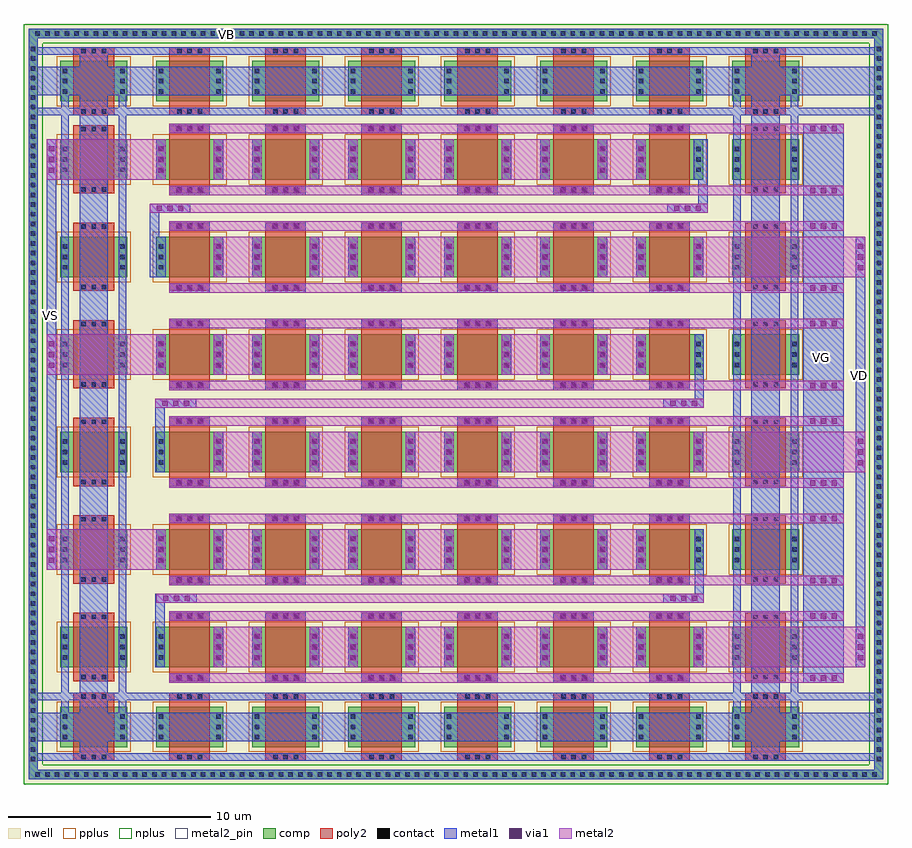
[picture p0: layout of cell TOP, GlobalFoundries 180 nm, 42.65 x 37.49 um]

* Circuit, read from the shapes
.subckt TOP VB VD VG VS
XM1 VB VB VB VB pfet_03v3 w=2u l=2u m=28
XM2 n1 VG n2 VB pfet_03v3 w=2u l=2u
XM3 n3 VG VS VB pfet_03v3 w=2u l=2u
XM4 n4 VG n5 VB pfet_03v3 w=2u l=2u
XM5 n6 VG VS VB pfet_03v3 w=2u l=2u
XM6 n7 VG n8 VB pfet_03v3 w=2u l=2u
XM7 n9 VG VS VB pfet_03v3 w=2u l=2u
XM8 n10 VG n1 VB pfet_03v3 w=2u l=2u
XM9 n11 VG n3 VB pfet_03v3 w=2u l=2u
XM10 n12 VG n4 VB pfet_03v3 w=2u l=2u
XM11 n13 VG n6 VB pfet_03v3 w=2u l=2u
XM12 n14 VG n7 VB pfet_03v3 w=2u l=2u
XM13 n15 VG n9 VB pfet_03v3 w=2u l=2u
XM14 n16 VG n10 VB pfet_03v3 w=2u l=2u
XM15 n17 VG n11 VB pfet_03v3 w=2u l=2u
XM16 n18 VG n12 VB pfet_03v3 w=2u l=2u
XM17 n19 VG n13 VB pfet_03v3 w=2u l=2u
XM18 n20 VG n14 VB pfet_03v3 w=2u l=2u
XM19 n21 VG n15 VB pfet_03v3 w=2u l=2u
XM20 n22 VG n16 VB pfet_03v3 w=2u l=2u
XM21 n23 VG n17 VB pfet_03v3 w=2u l=2u
XM22 n24 VG n18 VB pfet_03v3 w=2u l=2u
XM23 n25 VG n19 VB pfet_03v3 w=2u l=2u
XM24 n26 VG n20 VB pfet_03v3 w=2u l=2u
XM25 n27 VG n21 VB pfet_03v3 w=2u l=2u
XM26 n28 VG n22 VB pfet_03v3 w=2u l=2u
XM27 n29 VG n23 VB pfet_03v3 w=2u l=2u
XM28 n30 VG n24 VB pfet_03v3 w=2u l=2u
XM29 n31 VG n25 VB pfet_03v3 w=2u l=2u
XM30 n32 VG n26 VB pfet_03v3 w=2u l=2u
XM31 n33 VG n27 VB pfet_03v3 w=2u l=2u
XM32 VD VG n28 VB pfet_03v3 w=2u l=2u
XM33 n2 VG n29 VB pfet_03v3 w=2u l=2u
XM34 VD VG n30 VB pfet_03v3 w=2u l=2u
XM35 n5 VG n31 VB pfet_03v3 w=2u l=2u
XM36 VD VG n32 VB pfet_03v3 w=2u l=2u
XM37 n8 VG n33 VB pfet_03v3 w=2u l=2u
.ends

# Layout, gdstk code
from math import pi, radians
import gdstk
lib = gdstk.Library(unit=1e-6, precision=1e-09)
def R(c, l, rs):  # rectangles x0, y0, x1, y1
    for r in rs: c.add(gdstk.rectangle(r[:2], r[2:], *l))
def A(c, l, x, y, w, h, nx, ny, dx, dy):  # array of equal rectangles
    R(c, l, [(x+i*dx, y+j*dy, x+i*dx+w, y+j*dy+h) for i in range(nx) for j in range(ny)])
def P(c, l, *ps):  # polygons
    for p in ps: c.add(gdstk.Polygon(p, *l))
nwell = (21, 0)
comp = (22, 0)
poly2 = (30, 0)
pplus = (31, 0)
nplus = (32, 0)
contact = (33, 0)
metal1 = (34, 0)
via1 = (35, 0)
metal2 = (36, 0)
metal2_pin = (36, 10)

pfet_1 = lib.new_cell('pfet$1')
R(pfet_1, nwell, [(-0.9,-0.44,3.28,2.44)])
R(pfet_1, comp, [(-0.46,0,0,2), (0,0,2.38,2), (2.38,0,2.84,2)])
R(pfet_1, poly2, [(0.19,-0.68,2.19,-0.3), (0.19,-0.3,2.19,2.3), (0.19,2.3,2.19,2.68)])
R(pfet_1, pplus, [(-0.63,-0.24,3.01,2.24)])
A(pfet_1, contact, 0.57, -0.6, 0.22, 0.22, 3, 2, 0.51, 2.98)
A(pfet_1, contact, -0.34, 0.38, 0.22, 0.22, 1, 3, 0, 0.51)
A(pfet_1, contact, 2.5, 0.38, 0.22, 0.22, 1, 3, 0, 0.51)
R(pfet_1, metal1, [(0.49,-0.68,1.89,-0.3), (-0.42,0.3,-0.04,1.7), (2.42,0.3,2.8,1.7), (0.49,2.3,1.89,2.68)])

via_dev_1 = lib.new_cell('via_dev$1')
R(via_dev_1, metal1, [(0,0,0.46,2)])
A(via_dev_1, via1, 0.1, 0.34, 0.26, 0.26, 1, 3, 0, 0.53)
R(via_dev_1, metal2, [(0,0,0.46,2)])

via_dev_6 = lib.new_cell('via_dev$6')
R(via_dev_6, comp, [(0,0,0.46,42.17)])
A(via_dev_6, contact, 0.12, 0.335, 0.22, 0.22, 1, 87, 0, 0.48)
R(via_dev_6, metal1, [(0,0,0.46,42.17)])

via_dev_4 = lib.new_cell('via_dev$4')
R(via_dev_4, comp, [(0,0,0.46,35.61)])
A(via_dev_4, contact, 0.12, 0.175, 0.22, 0.22, 1, 74, 0, 0.48)
R(via_dev_4, metal1, [(0,0,0.46,35.61)])

top = lib.new_cell('TOP')
R(top, nwell, [(-98.8,38.13,-56.15,75.62)])
R(top, comp, [(-98.56,38.745,-98.1,39.1), (-56.85,38.745,-56.39,39.1), (-98.56,74.58,-98.1,74.935), (-56.85,74.58,-56.39,74.935), (-56.85,74.58,-56.39,74.935)])
R(top, nplus, [(-98.8,38.13,-97.86,75.62), (-98.12,38.13,-56.23,39.07), (-57.09,38.13,-56.15,75.62), (-98.8,74.68,-56.23,75.62)])
R(top, metal1, [(-98.56,38.825,-98.1,39.12), (-56.85,38.825,-56.39,39.12), (-60.35,43.13,-58.35,70.7), (-92.3,43.89,-91.84,47.525), (-92.3,43.89,-91.84,47.525), (-57.75,43.89,-57.29,65.13), (-65.705,47.065,-65.245,50.7), (-97.66,48.7,-97.2,69.94), (-92.26,48.7,-91.8,50.7), (-92.26,48.7,-91.8,50.7), (-92.26,48.7,-91.8,50.7), (-92.26,48.7,-91.8,50.7), (-92.3,53.51,-91.84,57.145), (-92.3,53.51,-91.84,57.145), (-65.705,56.685,-65.245,60.32), (-92.26,58.32,-91.8,60.32), (-92.26,58.32,-91.8,60.32), (-92.26,58.32,-91.8,60.32), (-92.26,58.32,-91.8,60.32), (-92.26,67.94,-91.8,69.94), (-92.26,67.94,-91.8,69.94), (-92.26,67.94,-91.8,69.94), (-92.26,67.94,-91.8,69.94), (-98.56,74.66,-98.1,74.955), (-56.85,74.66,-56.39,74.955), (-56.85,74.66,-56.39,74.955)])
P(top, metal1, [(-98.56,39.27),(-98.56,39.65),(-96.045,39.65),(-96.045,40.25),(-94.645,40.25),(-94.645,39.65),(-62.9,39.65),(-62.9,40.25),(-98.56,40.25),(-98.56,41.65),(-96.955,41.65),(-96.955,42.25),(-96.575,42.25),(-96.575,41.65),(-96.045,41.65),(-96.045,42.25),(-94.645,42.25),(-94.645,41.65),(-94.115,41.65),(-94.115,42.25),(-93.735,42.25),(-93.735,41.65),(-63.81,41.65),(-63.81,42.25),(-63.43,42.25),(-63.43,41.65),(-62.9,41.65),(-62.9,42.25),(-61.5,42.25),(-61.5,41.65),(-60.97,41.65),(-60.97,42.25),(-98.56,42.25),(-98.56,42.63),(-96.955,42.63),(-96.955,71.12),(-96.575,71.12),(-96.575,42.63),(-96.045,42.63),(-96.045,71.12),(-94.645,71.12),(-94.645,42.63),(-94.115,42.63),(-94.115,71.12),(-93.735,71.12),(-93.735,42.63),(-63.81,42.63),(-63.81,71.12),(-63.43,71.12),(-63.43,42.63),(-62.9,42.63),(-62.9,71.12),(-61.5,71.12),(-61.5,42.63),(-60.97,42.63),(-60.97,71.12),(-98.56,71.12),(-98.56,71.5),(-96.955,71.5),(-96.955,72.1),(-96.575,72.1),(-96.575,71.5),(-96.045,71.5),(-96.045,72.1),(-94.645,72.1),(-94.645,71.5),(-94.115,71.5),(-94.115,72.1),(-93.735,72.1),(-93.735,71.5),(-63.81,71.5),(-63.81,72.1),(-63.43,72.1),(-63.43,71.5),(-62.9,71.5),(-62.9,72.1),(-61.5,72.1),(-61.5,71.5),(-60.97,71.5),(-60.97,72.1),(-98.56,72.1),(-98.56,73.5),(-96.045,73.5),(-96.045,74.1),(-94.645,74.1),(-94.645,73.5),(-62.9,73.5),(-62.9,74.1),(-98.56,74.1),(-98.56,74.48),(-56.39,74.48),(-56.39,74.1),(-61.5,74.1),(-61.5,73.5),(-56.39,73.5),(-56.39,72.1),(-60.59,72.1),(-60.59,71.5),(-56.39,71.5),(-56.39,71.12),(-60.59,71.12),(-60.59,42.63),(-56.39,42.63),(-56.39,42.25),(-60.59,42.25),(-60.59,41.65),(-56.39,41.65),(-56.39,40.25),(-61.5,40.25),(-61.5,39.65),(-56.39,39.65),(-56.39,39.27)],
  [(-92.585,63.13),(-92.585,66.765),(-92.125,66.765),(-92.125,65.13),(-91.8,65.13),(-91.8,63.13)],
  [(-65.515,66.305),(-65.515,67.94),(-65.745,67.94),(-65.745,69.94),(-65.055,69.94),(-65.055,66.305)],
  [(-92.585,63.13),(-92.585,66.765),(-92.125,66.765),(-92.125,65.13),(-91.8,65.13),(-91.8,63.13)])
A(top, metal2, -89.42, 43.89, 2.355, 2, 5, 6, 4.735, 4.81)
A(top, metal2, -65.745, 43.89, 8.455, 2, 1, 3, 0, 9.62)
A(top, metal2, -92.26, 47.065, 26.975, 0.46, 1, 3, 0, 9.62)
A(top, metal2, -97.66, 48.7, 5.86, 2, 1, 3, 0, 9.62)
R(top, metal2, [(-91.61,43.13,-60.11,43.59), (-91.61,46.19,-59.12,46.65), (-91.61,47.94,-59.39,48.4), (-91.61,51,-58.35,51.46), (-91.61,52.75,-58.35,53.21), (-91.61,55.81,-58.35,56.27), (-91.61,57.56,-59.945,58.02), (-91.61,57.56,-65.935,58.02), (-91.61,60.62,-59.395,61.08), (-91.61,62.37,-59,62.83), (-91.61,65.43,-58.35,65.89), (-91.61,67.18,-60.29,67.64), (-91.61,70.24,-60.25,70.7)])
A(top, metal2_pin, -89.42, 48.7, 2.355, 2, 5, 3, 4.735, 9.62)
R(top, metal2_pin, [(-91.61,43.13,-65.935,43.59), (-91.61,43.13,-65.935,43.59), (-91.61,43.13,-65.935,43.59), (-91.61,46.19,-65.935,46.65), (-91.61,46.19,-65.935,46.65), (-91.61,47.94,-65.935,48.4), (-91.61,47.94,-65.935,48.4), (-91.61,47.94,-65.935,48.4), (-91.61,51,-65.935,51.46), (-91.61,51,-65.935,51.46), (-91.61,52.75,-65.935,53.21), (-91.61,52.75,-65.935,53.21), (-91.61,57.56,-65.935,58.02), (-91.61,57.56,-65.935,58.02), (-91.61,60.62,-65.935,61.08), (-91.61,62.37,-65.935,62.83), (-91.61,65.43,-65.935,65.89), (-91.61,67.18,-65.935,67.64), (-91.61,67.18,-65.935,67.64)])
top.add(gdstk.Reference(pfet_1, (-77.595,63.13)))
top.add(gdstk.Reference(pfet_1, (-77.595,63.13)))
top.add(gdstk.Reference(pfet_1, (-77.595,67.94)))
top.add(gdstk.Reference(pfet_1, (-77.595,67.94)))
top.add(gdstk.Reference(pfet_1, (-77.595,67.94)))
top.add(gdstk.Reference(pfet_1, (-77.595,67.94)))
top.add(gdstk.Reference(pfet_1, (-77.595,53.51)))
top.add(gdstk.Reference(pfet_1, (-77.595,53.51)))
top.add(gdstk.Reference(via_dev_1, (-65.245,56.685), rotation=pi/2))
top.add(gdstk.Reference(via_dev_1, (-90.3,56.685), rotation=pi/2))
top.add(gdstk.Reference(pfet_1, (-77.595,58.32)))
top.add(gdstk.Reference(pfet_1, (-77.595,58.32)))
top.add(gdstk.Reference(pfet_1, (-77.595,58.32)))
top.add(gdstk.Reference(pfet_1, (-77.595,58.32)))
top.add(gdstk.Reference(pfet_1, (-77.595,48.7)))
top.add(gdstk.Reference(pfet_1, (-77.595,48.7)))
top.add(gdstk.Reference(pfet_1, (-77.595,48.7)))
top.add(gdstk.Reference(pfet_1, (-77.595,48.7)))
top.add(gdstk.Reference(pfet_1, (-77.595,43.89)))
top.add(gdstk.Reference(pfet_1, (-77.595,43.89)))
top.add(gdstk.Reference(via_dev_6, (-56.39,38.37), rotation=pi/2))
top.add(gdstk.Reference(pfet_1, (-77.595,71.8)))
top.add(gdstk.Reference(pfet_1, (-77.595,71.8)))
top.add(gdstk.Reference(pfet_1, (-77.595,71.8)))
top.add(gdstk.Reference(pfet_1, (-77.595,71.8)))
top.add(gdstk.Reference(pfet_1, (-77.595,39.95)))
top.add(gdstk.Reference(pfet_1, (-77.595,39.95)))
top.add(gdstk.Reference(pfet_1, (-77.595,39.95)))
top.add(gdstk.Reference(pfet_1, (-77.595,39.95)))
top.add(gdstk.Reference(via_dev_1, (-90.3,56.685), rotation=pi/2))
top.add(gdstk.Reference(via_dev_4, (-56.85,39.07)))
top.add(gdstk.Reference(via_dev_4, (-98.56,39.07)))
top.add(gdstk.Reference(via_dev_6, (-56.39,74.92), rotation=pi/2))
top.add(gdstk.Reference(via_dev_1, (-65.935,67.18), rotation=pi/2))
top.add(gdstk.Reference(via_dev_1, (-65.935,65.43), rotation=pi/2))
top.add(gdstk.Reference(via_dev_1, (-65.935,65.43), rotation=pi/2))
top.add(gdstk.Reference(via_dev_1, (-65.055,66.305), rotation=pi/2))
top.add(gdstk.Reference(via_dev_1, (-65.935,62.37), rotation=pi/2))
top.add(gdstk.Reference(via_dev_1, (-65.935,62.37), rotation=pi/2))
top.add(gdstk.Reference(pfet_1, (-68.125,63.13)))
top.add(gdstk.Reference(via_dev_1, (-65.935,57.56), rotation=pi/2))
top.add(gdstk.Reference(via_dev_1, (-65.935,60.62), rotation=pi/2))
top.add(gdstk.Reference(via_dev_1, (-65.935,57.56), rotation=pi/2))
top.add(gdstk.Reference(via_dev_1, (-65.935,60.62), rotation=pi/2))
top.add(gdstk.Reference(pfet_1, (-68.125,58.32)))
top.add(gdstk.Reference(pfet_1, (-68.125,58.32)))
top.add(gdstk.Reference(pfet_1, (-68.125,67.94)))
top.add(gdstk.Reference(pfet_1, (-68.125,63.13)))
top.add(gdstk.Reference(via_dev_1, (-65.935,70.24), rotation=pi/2))
top.add(gdstk.Reference(via_dev_1, (-65.935,67.18), rotation=pi/2))
top.add(gdstk.Reference(pfet_1, (-68.125,67.94)))
top.add(gdstk.Reference(pfet_1, (-68.125,71.8)))
top.add(gdstk.Reference(pfet_1, (-68.125,71.8)))
top.add(gdstk.Reference(via_dev_1, (-65.935,70.24), rotation=pi/2))
top.add(gdstk.Reference(via_dev_1, (-58.35,70.24), rotation=pi/2))
top.add(gdstk.Reference(via_dev_1, (-58.35,70.24), rotation=pi/2))
top.add(gdstk.Reference(pfet_1, (-63.39,67.94)))
top.add(gdstk.Reference(pfet_1, (-63.39,71.8)))
top.add(gdstk.Reference(pfet_1, (-63.39,71.8)))
top.add(gdstk.Reference(pfet_1, (-63.39,67.94)))
top.add(gdstk.Reference(via_dev_1, (-58.35,67.18), rotation=pi/2))
top.add(gdstk.Reference(via_dev_1, (-68.585,67.94)))
top.add(gdstk.Reference(pfet_1, (-72.86,67.94)))
top.add(gdstk.Reference(via_dev_1, (-70.67,67.18), rotation=pi/2))
top.add(gdstk.Reference(via_dev_1, (-75.405,67.18), rotation=pi/2))
top.add(gdstk.Reference(via_dev_1, (-75.215,67.94)))
top.add(gdstk.Reference(via_dev_1, (-75.215,67.94)))
top.add(gdstk.Reference(pfet_1, (-72.86,71.8)))
top.add(gdstk.Reference(pfet_1, (-72.86,71.8)))
top.add(gdstk.Reference(pfet_1, (-72.86,71.8)))
top.add(gdstk.Reference(pfet_1, (-72.86,71.8)))
top.add(gdstk.Reference(pfet_1, (-72.86,71.8)))
top.add(gdstk.Reference(pfet_1, (-72.86,71.8)))
top.add(gdstk.Reference(pfet_1, (-72.86,71.8)))
top.add(gdstk.Reference(pfet_1, (-72.86,71.8)))
top.add(gdstk.Reference(via_dev_1, (-73.32,67.94)))
top.add(gdstk.Reference(via_dev_1, (-70.48,67.94)))
top.add(gdstk.Reference(via_dev_1, (-68.585,67.94)))
top.add(gdstk.Reference(pfet_1, (-72.86,67.94)))
top.add(gdstk.Reference(via_dev_1, (-73.32,67.94)))
top.add(gdstk.Reference(pfet_1, (-72.86,67.94)))
top.add(gdstk.Reference(pfet_1, (-72.86,67.94)))
top.add(gdstk.Reference(via_dev_1, (-70.48,67.94)))
top.add(gdstk.Reference(pfet_1, (-72.86,67.94)))
top.add(gdstk.Reference(pfet_1, (-72.86,67.94)))
top.add(gdstk.Reference(pfet_1, (-72.86,67.94)))
top.add(gdstk.Reference(pfet_1, (-72.86,67.94)))
top.add(gdstk.Reference(via_dev_1, (-70.67,67.18), rotation=pi/2))
top.add(gdstk.Reference(via_dev_1, (-75.405,67.18), rotation=pi/2))
top.add(gdstk.Reference(via_dev_1, (-70.67,70.24), rotation=pi/2))
top.add(gdstk.Reference(via_dev_1, (-75.405,70.24), rotation=pi/2))
top.add(gdstk.Reference(via_dev_1, (-70.67,70.24), rotation=pi/2))
top.add(gdstk.Reference(via_dev_1, (-75.405,70.24), rotation=pi/2))
top.add(gdstk.Reference(via_dev_1, (-75.405,60.62), rotation=pi/2))
top.add(gdstk.Reference(pfet_1, (-72.86,63.13)))
top.add(gdstk.Reference(via_dev_1, (-70.67,60.62), rotation=pi/2))
top.add(gdstk.Reference(via_dev_1, (-70.67,65.43), rotation=pi/2))
top.add(gdstk.Reference(via_dev_1, (-70.67,62.37), rotation=pi/2))
top.add(gdstk.Reference(via_dev_1, (-75.405,62.37), rotation=pi/2))
top.add(gdstk.Reference(pfet_1, (-72.86,58.32)))
top.add(gdstk.Reference(pfet_1, (-72.86,58.32)))
top.add(gdstk.Reference(pfet_1, (-72.86,58.32)))
top.add(gdstk.Reference(pfet_1, (-72.86,63.13)))
top.add(gdstk.Reference(pfet_1, (-72.86,58.32)))
top.add(gdstk.Reference(via_dev_1, (-68.585,58.32)))
top.add(gdstk.Reference(via_dev_1, (-70.48,58.32)))
top.add(gdstk.Reference(via_dev_1, (-73.32,58.32)))
top.add(gdstk.Reference(via_dev_1, (-75.215,58.32)))
top.add(gdstk.Reference(via_dev_1, (-70.67,65.43), rotation=pi/2))
top.add(gdstk.Reference(via_dev_1, (-75.405,57.56), rotation=pi/2))
top.add(gdstk.Reference(via_dev_1, (-70.67,57.56), rotation=pi/2))
top.add(gdstk.Reference(via_dev_1, (-70.67,62.37), rotation=pi/2))
top.add(gdstk.Reference(via_dev_1, (-75.405,60.62), rotation=pi/2))
top.add(gdstk.Reference(via_dev_1, (-70.67,60.62), rotation=pi/2))
top.add(gdstk.Reference(via_dev_1, (-75.405,62.37), rotation=pi/2))
top.add(gdstk.Reference(via_dev_1, (-70.48,63.13)))
top.add(gdstk.Reference(via_dev_1, (-73.32,63.13)))
top.add(gdstk.Reference(via_dev_1, (-75.215,63.13)))
top.add(gdstk.Reference(pfet_1, (-72.86,58.32)))
top.add(gdstk.Reference(via_dev_1, (-75.405,65.43), rotation=pi/2))
top.add(gdstk.Reference(pfet_1, (-72.86,58.32)))
top.add(gdstk.Reference(pfet_1, (-72.86,58.32)))
top.add(gdstk.Reference(pfet_1, (-72.86,58.32)))
top.add(gdstk.Reference(via_dev_1, (-68.585,58.32)))
top.add(gdstk.Reference(pfet_1, (-72.86,63.13)))
top.add(gdstk.Reference(via_dev_1, (-68.585,63.13)))
top.add(gdstk.Reference(via_dev_1, (-70.48,58.32)))
top.add(gdstk.Reference(via_dev_1, (-73.32,58.32)))
top.add(gdstk.Reference(via_dev_1, (-75.215,58.32)))
top.add(gdstk.Reference(pfet_1, (-72.86,63.13)))
top.add(gdstk.Reference(via_dev_1, (-75.405,57.56), rotation=pi/2))
top.add(gdstk.Reference(via_dev_1, (-70.67,57.56), rotation=pi/2))
top.add(gdstk.Reference(via_dev_1, (-75.405,65.43), rotation=pi/2))
top.add(gdstk.Reference(via_dev_1, (-57.75,63.13)))
top.add(gdstk.Reference(pfet_1, (-63.39,58.32)))
top.add(gdstk.Reference(via_dev_1, (-58.35,60.62), rotation=pi/2))
top.add(gdstk.Reference(via_dev_1, (-58.35,57.56), rotation=pi/2))
top.add(gdstk.Reference(pfet_1, (-63.39,58.32)))
top.add(gdstk.Reference(via_dev_1, (-65.745,63.13)))
top.add(gdstk.Reference(pfet_1, (-63.39,63.13)))
top.add(gdstk.Reference(via_dev_1, (-58.35,65.43), rotation=pi/2))
top.add(gdstk.Reference(via_dev_1, (-58.35,62.37), rotation=pi/2))
top.add(gdstk.Reference(pfet_1, (-63.39,63.13)))
top.add(gdstk.Reference(via_dev_1, (-84.875,67.18), rotation=pi/2))
top.add(gdstk.Reference(via_dev_1, (-84.875,67.18), rotation=pi/2))
top.add(gdstk.Reference(pfet_1, (-87.065,67.94)))
top.add(gdstk.Reference(via_dev_1, (-84.875,70.24), rotation=pi/2))
top.add(gdstk.Reference(via_dev_1, (-84.875,70.24), rotation=pi/2))
top.add(gdstk.Reference(pfet_1, (-82.33,67.94)))
top.add(gdstk.Reference(via_dev_1, (-84.685,67.94)))
top.add(gdstk.Reference(via_dev_1, (-80.14,67.18), rotation=pi/2))
top.add(gdstk.Reference(pfet_1, (-82.33,67.94)))
top.add(gdstk.Reference(pfet_1, (-82.33,67.94)))
top.add(gdstk.Reference(pfet_1, (-82.33,67.94)))
top.add(gdstk.Reference(pfet_1, (-82.33,67.94)))
top.add(gdstk.Reference(via_dev_1, (-82.79,67.94)))
top.add(gdstk.Reference(via_dev_1, (-84.685,67.94)))
top.add(gdstk.Reference(via_dev_1, (-80.14,70.24), rotation=pi/2))
top.add(gdstk.Reference(via_dev_1, (-79.95,67.94)))
top.add(gdstk.Reference(pfet_1, (-82.33,67.94)))
top.add(gdstk.Reference(via_dev_1, (-80.14,67.18), rotation=pi/2))
top.add(gdstk.Reference(via_dev_1, (-80.14,70.24), rotation=pi/2))
top.add(gdstk.Reference(via_dev_1, (-82.79,67.94)))
top.add(gdstk.Reference(pfet_1, (-82.33,67.94)))
top.add(gdstk.Reference(pfet_1, (-82.33,67.94)))
top.add(gdstk.Reference(via_dev_1, (-79.95,67.94)))
top.add(gdstk.Reference(via_dev_1, (-87.525,67.94)))
top.add(gdstk.Reference(via_dev_1, (-87.525,67.94)))
top.add(gdstk.Reference(pfet_1, (-82.33,71.8)))
top.add(gdstk.Reference(pfet_1, (-82.33,71.8)))
top.add(gdstk.Reference(pfet_1, (-82.33,71.8)))
top.add(gdstk.Reference(pfet_1, (-82.33,71.8)))
top.add(gdstk.Reference(pfet_1, (-82.33,71.8)))
top.add(gdstk.Reference(pfet_1, (-82.33,71.8)))
top.add(gdstk.Reference(pfet_1, (-82.33,71.8)))
top.add(gdstk.Reference(pfet_1, (-82.33,71.8)))
top.add(gdstk.Reference(pfet_1, (-87.065,71.8)))
top.add(gdstk.Reference(pfet_1, (-87.065,71.8)))
top.add(gdstk.Reference(pfet_1, (-87.065,71.8)))
top.add(gdstk.Reference(pfet_1, (-87.065,71.8)))
top.add(gdstk.Reference(via_dev_1, (-78.055,67.94)))
top.add(gdstk.Reference(via_dev_1, (-78.055,67.94)))
top.add(gdstk.Reference(via_dev_1, (-84.875,67.18), rotation=pi/2))
top.add(gdstk.Reference(via_dev_1, (-84.875,67.18), rotation=pi/2))
top.add(gdstk.Reference(pfet_1, (-87.065,67.94)))
top.add(gdstk.Reference(pfet_1, (-87.065,67.94)))
top.add(gdstk.Reference(pfet_1, (-87.065,67.94)))
top.add(gdstk.Reference(via_dev_1, (-84.875,70.24), rotation=pi/2))
top.add(gdstk.Reference(via_dev_1, (-84.875,70.24), rotation=pi/2))
top.add(gdstk.Reference(pfet_1, (-91.8,71.8)))
top.add(gdstk.Reference(via_dev_1, (-89.61,70.24), rotation=pi/2))
top.add(gdstk.Reference(pfet_1, (-91.8,67.94)))
top.add(gdstk.Reference(via_dev_1, (-92.26,67.94)))
top.add(gdstk.Reference(via_dev_1, (-97.66,67.94)))
top.add(gdstk.Reference(via_dev_1, (-89.42,67.94)))
top.add(gdstk.Reference(pfet_1, (-91.8,71.8)))
top.add(gdstk.Reference(via_dev_1, (-90.585,66.305), rotation=pi/2))
top.add(gdstk.Reference(via_dev_1, (-89.61,67.18), rotation=pi/2))
top.add(gdstk.Reference(via_dev_1, (-89.61,67.18), rotation=pi/2))
top.add(gdstk.Reference(via_dev_1, (-89.61,70.24), rotation=pi/2))
top.add(gdstk.Reference(via_dev_1, (-89.42,67.94)))
top.add(gdstk.Reference(via_dev_1, (-92.26,67.94)))
top.add(gdstk.Reference(pfet_1, (-91.8,67.94)))
top.add(gdstk.Reference(via_dev_1, (-89.61,70.24), rotation=pi/2))
top.add(gdstk.Reference(via_dev_1, (-89.42,67.94)))
top.add(gdstk.Reference(pfet_1, (-96.535,67.94)))
top.add(gdstk.Reference(via_dev_1, (-89.61,70.24), rotation=pi/2))
top.add(gdstk.Reference(via_dev_1, (-89.61,67.18), rotation=pi/2))
top.add(gdstk.Reference(via_dev_1, (-89.42,67.94)))
top.add(gdstk.Reference(via_dev_1, (-89.61,67.18), rotation=pi/2))
top.add(gdstk.Reference(via_dev_1, (-90.585,66.305), rotation=pi/2))
top.add(gdstk.Reference(pfet_1, (-96.535,71.8)))
top.add(gdstk.Reference(pfet_1, (-96.535,71.8)))
top.add(gdstk.Reference(pfet_1, (-96.535,67.94)))
top.add(gdstk.Reference(via_dev_1, (-89.42,58.32)))
top.add(gdstk.Reference(via_dev_1, (-89.61,62.37), rotation=pi/2))
top.add(gdstk.Reference(pfet_1, (-91.8,58.32)))
top.add(gdstk.Reference(via_dev_1, (-89.61,57.56), rotation=pi/2))
top.add(gdstk.Reference(via_dev_1, (-89.61,60.62), rotation=pi/2))
top.add(gdstk.Reference(pfet_1, (-91.8,58.32)))
top.add(gdstk.Reference(via_dev_1, (-89.61,62.37), rotation=pi/2))
top.add(gdstk.Reference(via_dev_1, (-89.61,65.43), rotation=pi/2))
top.add(gdstk.Reference(via_dev_1, (-89.42,58.32)))
top.add(gdstk.Reference(via_dev_1, (-89.61,60.62), rotation=pi/2))
top.add(gdstk.Reference(via_dev_1, (-89.61,57.56), rotation=pi/2))
top.add(gdstk.Reference(via_dev_1, (-92.26,58.32)))
top.add(gdstk.Reference(via_dev_1, (-89.61,62.37), rotation=pi/2))
top.add(gdstk.Reference(via_dev_1, (-89.42,58.32)))
top.add(gdstk.Reference(via_dev_1, (-89.61,65.43), rotation=pi/2))
top.add(gdstk.Reference(via_dev_1, (-89.61,65.43), rotation=pi/2))
top.add(gdstk.Reference(via_dev_1, (-89.42,63.13)))
top.add(gdstk.Reference(pfet_1, (-91.8,63.13)))
top.add(gdstk.Reference(pfet_1, (-91.8,63.13)))
top.add(gdstk.Reference(pfet_1, (-96.535,63.13)))
top.add(gdstk.Reference(via_dev_1, (-89.61,65.43), rotation=pi/2))
top.add(gdstk.Reference(via_dev_1, (-97.66,58.32)))
top.add(gdstk.Reference(pfet_1, (-96.535,58.32)))
top.add(gdstk.Reference(via_dev_1, (-89.61,60.62), rotation=pi/2))
top.add(gdstk.Reference(via_dev_1, (-89.61,57.56), rotation=pi/2))
top.add(gdstk.Reference(via_dev_1, (-89.42,58.32)))
top.add(gdstk.Reference(via_dev_1, (-89.61,62.37), rotation=pi/2))
top.add(gdstk.Reference(via_dev_1, (-89.42,63.13)))
top.add(gdstk.Reference(via_dev_1, (-92.26,58.32)))
top.add(gdstk.Reference(via_dev_1, (-89.61,57.56), rotation=pi/2))
top.add(gdstk.Reference(pfet_1, (-96.535,58.32)))
top.add(gdstk.Reference(via_dev_1, (-89.61,60.62), rotation=pi/2))
top.add(gdstk.Reference(pfet_1, (-96.535,63.13)))
top.add(gdstk.Reference(via_dev_1, (-84.875,60.62), rotation=pi/2))
top.add(gdstk.Reference(via_dev_1, (-84.875,60.62), rotation=pi/2))
top.add(gdstk.Reference(via_dev_1, (-84.875,60.62), rotation=pi/2))
top.add(gdstk.Reference(via_dev_1, (-84.875,60.62), rotation=pi/2))
top.add(gdstk.Reference(pfet_1, (-87.065,58.32)))
top.add(gdstk.Reference(pfet_1, (-87.065,58.32)))
top.add(gdstk.Reference(pfet_1, (-87.065,58.32)))
top.add(gdstk.Reference(via_dev_1, (-84.875,57.56), rotation=pi/2))
top.add(gdstk.Reference(via_dev_1, (-84.875,57.56), rotation=pi/2))
top.add(gdstk.Reference(via_dev_1, (-80.14,60.62), rotation=pi/2))
top.add(gdstk.Reference(pfet_1, (-82.33,63.13)))
top.add(gdstk.Reference(pfet_1, (-82.33,63.13)))
top.add(gdstk.Reference(pfet_1, (-87.065,63.13)))
top.add(gdstk.Reference(pfet_1, (-82.33,63.13)))
top.add(gdstk.Reference(pfet_1, (-82.33,58.32)))
top.add(gdstk.Reference(via_dev_1, (-79.95,58.32)))
top.add(gdstk.Reference(via_dev_1, (-82.79,58.32)))
top.add(gdstk.Reference(via_dev_1, (-84.685,58.32)))
top.add(gdstk.Reference(pfet_1, (-82.33,58.32)))
top.add(gdstk.Reference(pfet_1, (-82.33,58.32)))
top.add(gdstk.Reference(via_dev_1, (-80.14,62.37), rotation=pi/2))
top.add(gdstk.Reference(pfet_1, (-82.33,58.32)))
top.add(gdstk.Reference(via_dev_1, (-80.14,62.37), rotation=pi/2))
top.add(gdstk.Reference(via_dev_1, (-80.14,57.56), rotation=pi/2))
top.add(gdstk.Reference(pfet_1, (-82.33,58.32)))
top.add(gdstk.Reference(pfet_1, (-82.33,58.32)))
top.add(gdstk.Reference(via_dev_1, (-84.875,62.37), rotation=pi/2))
top.add(gdstk.Reference(via_dev_1, (-87.525,58.32)))
top.add(gdstk.Reference(via_dev_1, (-80.14,65.43), rotation=pi/2))
top.add(gdstk.Reference(via_dev_1, (-87.525,58.32)))
top.add(gdstk.Reference(via_dev_1, (-84.875,65.43), rotation=pi/2))
top.add(gdstk.Reference(via_dev_1, (-84.875,65.43), rotation=pi/2))
top.add(gdstk.Reference(via_dev_1, (-84.875,65.43), rotation=pi/2))
top.add(gdstk.Reference(via_dev_1, (-84.875,65.43), rotation=pi/2))
top.add(gdstk.Reference(via_dev_1, (-80.14,65.43), rotation=pi/2))
top.add(gdstk.Reference(via_dev_1, (-84.875,62.37), rotation=pi/2))
top.add(gdstk.Reference(via_dev_1, (-79.95,58.32)))
top.add(gdstk.Reference(pfet_1, (-82.33,58.32)))
top.add(gdstk.Reference(via_dev_1, (-82.79,58.32)))
top.add(gdstk.Reference(pfet_1, (-82.33,63.13)))
top.add(gdstk.Reference(via_dev_1, (-78.055,58.32)))
top.add(gdstk.Reference(via_dev_1, (-79.95,63.13)))
top.add(gdstk.Reference(via_dev_1, (-82.79,63.13)))
top.add(gdstk.Reference(via_dev_1, (-84.685,63.13)))
top.add(gdstk.Reference(via_dev_1, (-80.14,57.56), rotation=pi/2))
top.add(gdstk.Reference(via_dev_1, (-78.055,63.13)))
top.add(gdstk.Reference(via_dev_1, (-78.055,58.32)))
top.add(gdstk.Reference(via_dev_1, (-80.14,60.62), rotation=pi/2))
top.add(gdstk.Reference(via_dev_1, (-87.525,63.13)))
top.add(gdstk.Reference(pfet_1, (-87.065,63.13)))
top.add(gdstk.Reference(via_dev_1, (-84.875,62.37), rotation=pi/2))
top.add(gdstk.Reference(via_dev_1, (-84.875,62.37), rotation=pi/2))
top.add(gdstk.Reference(via_dev_1, (-84.685,58.32)))
top.add(gdstk.Reference(pfet_1, (-82.33,58.32)))
top.add(gdstk.Reference(via_dev_1, (-84.875,57.56), rotation=pi/2))
top.add(gdstk.Reference(via_dev_1, (-84.875,57.56), rotation=pi/2))
top.add(gdstk.Reference(pfet_1, (-87.065,58.32)))
top.add(gdstk.Reference(pfet_1, (-82.33,53.51)))
top.add(gdstk.Reference(via_dev_1, (-84.875,52.75), rotation=pi/2))
top.add(gdstk.Reference(via_dev_1, (-80.14,52.75), rotation=pi/2))
top.add(gdstk.Reference(via_dev_1, (-84.875,52.75), rotation=pi/2))
top.add(gdstk.Reference(via_dev_1, (-84.875,52.75), rotation=pi/2))
top.add(gdstk.Reference(via_dev_1, (-80.14,52.75), rotation=pi/2))
top.add(gdstk.Reference(pfet_1, (-87.065,53.51)))
top.add(gdstk.Reference(pfet_1, (-82.33,53.51)))
top.add(gdstk.Reference(via_dev_1, (-84.875,52.75), rotation=pi/2))
top.add(gdstk.Reference(via_dev_1, (-84.875,55.81), rotation=pi/2))
top.add(gdstk.Reference(via_dev_1, (-84.875,55.81), rotation=pi/2))
top.add(gdstk.Reference(via_dev_1, (-80.14,55.81), rotation=pi/2))
top.add(gdstk.Reference(via_dev_1, (-84.875,55.81), rotation=pi/2))
top.add(gdstk.Reference(via_dev_1, (-84.875,55.81), rotation=pi/2))
top.add(gdstk.Reference(via_dev_1, (-80.14,55.81), rotation=pi/2))
top.add(gdstk.Reference(via_dev_1, (-78.055,48.7)))
top.add(gdstk.Reference(via_dev_1, (-78.055,53.51)))
top.add(gdstk.Reference(via_dev_1, (-78.055,48.7)))
top.add(gdstk.Reference(pfet_1, (-82.33,53.51)))
top.add(gdstk.Reference(pfet_1, (-87.065,53.51)))
top.add(gdstk.Reference(via_dev_1, (-87.525,53.51)))
top.add(gdstk.Reference(via_dev_1, (-84.685,53.51)))
top.add(gdstk.Reference(via_dev_1, (-82.79,53.51)))
top.add(gdstk.Reference(via_dev_1, (-79.95,53.51)))
top.add(gdstk.Reference(pfet_1, (-82.33,53.51)))
top.add(gdstk.Reference(via_dev_1, (-87.525,48.7)))
top.add(gdstk.Reference(via_dev_1, (-84.875,47.94), rotation=pi/2))
top.add(gdstk.Reference(via_dev_1, (-84.875,47.94), rotation=pi/2))
top.add(gdstk.Reference(via_dev_1, (-80.14,47.94), rotation=pi/2))
top.add(gdstk.Reference(via_dev_1, (-84.875,47.94), rotation=pi/2))
top.add(gdstk.Reference(via_dev_1, (-84.875,47.94), rotation=pi/2))
top.add(gdstk.Reference(via_dev_1, (-80.14,47.94), rotation=pi/2))
top.add(gdstk.Reference(pfet_1, (-87.065,48.7)))
top.add(gdstk.Reference(pfet_1, (-82.33,48.7)))
top.add(gdstk.Reference(via_dev_1, (-84.875,51), rotation=pi/2))
top.add(gdstk.Reference(via_dev_1, (-84.875,51), rotation=pi/2))
top.add(gdstk.Reference(via_dev_1, (-80.14,51), rotation=pi/2))
top.add(gdstk.Reference(pfet_1, (-82.33,48.7)))
top.add(gdstk.Reference(via_dev_1, (-84.875,51), rotation=pi/2))
top.add(gdstk.Reference(via_dev_1, (-84.875,51), rotation=pi/2))
top.add(gdstk.Reference(pfet_1, (-87.065,48.7)))
top.add(gdstk.Reference(via_dev_1, (-80.14,51), rotation=pi/2))
top.add(gdstk.Reference(pfet_1, (-82.33,48.7)))
top.add(gdstk.Reference(pfet_1, (-82.33,48.7)))
top.add(gdstk.Reference(pfet_1, (-87.065,48.7)))
top.add(gdstk.Reference(pfet_1, (-82.33,48.7)))
top.add(gdstk.Reference(pfet_1, (-82.33,48.7)))
top.add(gdstk.Reference(via_dev_1, (-79.95,48.7)))
top.add(gdstk.Reference(via_dev_1, (-82.79,48.7)))
top.add(gdstk.Reference(pfet_1, (-87.065,48.7)))
top.add(gdstk.Reference(via_dev_1, (-84.685,48.7)))
top.add(gdstk.Reference(pfet_1, (-82.33,48.7)))
top.add(gdstk.Reference(via_dev_1, (-87.525,48.7)))
top.add(gdstk.Reference(pfet_1, (-82.33,48.7)))
top.add(gdstk.Reference(via_dev_1, (-79.95,48.7)))
top.add(gdstk.Reference(via_dev_1, (-82.79,48.7)))
top.add(gdstk.Reference(via_dev_1, (-84.685,48.7)))
top.add(gdstk.Reference(via_dev_1, (-89.61,55.81), rotation=pi/2))
top.add(gdstk.Reference(via_dev_1, (-89.61,52.75), rotation=pi/2))
top.add(gdstk.Reference(via_dev_1, (-89.61,52.75), rotation=pi/2))
top.add(gdstk.Reference(pfet_1, (-91.8,48.7)))
top.add(gdstk.Reference(via_dev_1, (-89.61,51), rotation=pi/2))
top.add(gdstk.Reference(via_dev_1, (-89.42,48.7)))
top.add(gdstk.Reference(via_dev_1, (-89.61,51), rotation=pi/2))
top.add(gdstk.Reference(via_dev_1, (-89.61,47.94), rotation=pi/2))
top.add(gdstk.Reference(via_dev_1, (-89.61,47.94), rotation=pi/2))
top.add(gdstk.Reference(via_dev_1, (-92.26,48.7)))
top.add(gdstk.Reference(via_dev_1, (-89.42,48.7)))
top.add(gdstk.Reference(via_dev_1, (-89.42,53.51)))
top.add(gdstk.Reference(pfet_1, (-91.8,53.51)))
top.add(gdstk.Reference(via_dev_1, (-89.61,55.81), rotation=pi/2))
top.add(gdstk.Reference(via_dev_1, (-89.61,47.94), rotation=pi/2))
top.add(gdstk.Reference(via_dev_1, (-89.61,55.81), rotation=pi/2))
top.add(gdstk.Reference(via_dev_1, (-89.61,52.75), rotation=pi/2))
top.add(gdstk.Reference(via_dev_1, (-97.66,48.7)))
top.add(gdstk.Reference(via_dev_1, (-89.61,51), rotation=pi/2))
top.add(gdstk.Reference(via_dev_1, (-92.26,48.7)))
top.add(gdstk.Reference(pfet_1, (-91.8,53.51)))
top.add(gdstk.Reference(pfet_1, (-91.8,48.7)))
top.add(gdstk.Reference(via_dev_1, (-89.61,51), rotation=pi/2))
top.add(gdstk.Reference(via_dev_1, (-89.61,52.75), rotation=pi/2))
top.add(gdstk.Reference(via_dev_1, (-89.42,53.51)))
top.add(gdstk.Reference(via_dev_1, (-89.42,48.7)))
top.add(gdstk.Reference(via_dev_1, (-89.61,55.81), rotation=pi/2))
top.add(gdstk.Reference(via_dev_1, (-89.42,48.7)))
top.add(gdstk.Reference(via_dev_1, (-89.61,47.94), rotation=pi/2))
top.add(gdstk.Reference(pfet_1, (-96.535,53.51)))
top.add(gdstk.Reference(pfet_1, (-96.535,53.51)))
top.add(gdstk.Reference(pfet_1, (-96.535,48.7)))
top.add(gdstk.Reference(pfet_1, (-96.535,48.7)))
top.add(gdstk.Reference(pfet_1, (-91.8,39.95)))
top.add(gdstk.Reference(pfet_1, (-91.8,39.95)))
top.add(gdstk.Reference(via_dev_1, (-89.61,46.19), rotation=pi/2))
top.add(gdstk.Reference(via_dev_1, (-89.61,46.19), rotation=pi/2))
top.add(gdstk.Reference(via_dev_1, (-89.61,46.19), rotation=pi/2))
top.add(gdstk.Reference(via_dev_1, (-90.26,47.065), rotation=pi/2))
top.add(gdstk.Reference(pfet_1, (-91.8,43.89)))
top.add(gdstk.Reference(via_dev_1, (-89.42,43.89)))
top.add(gdstk.Reference(via_dev_1, (-89.61,43.13), rotation=pi/2))
top.add(gdstk.Reference(pfet_1, (-96.535,43.89)))
top.add(gdstk.Reference(via_dev_1, (-89.61,43.13), rotation=pi/2))
top.add(gdstk.Reference(via_dev_1, (-89.61,43.13), rotation=pi/2))
top.add(gdstk.Reference(via_dev_1, (-90.26,47.065), rotation=pi/2))
top.add(gdstk.Reference(via_dev_1, (-89.61,43.13), rotation=pi/2))
top.add(gdstk.Reference(via_dev_1, (-89.42,43.89)))
top.add(gdstk.Reference(pfet_1, (-96.535,39.95)))
top.add(gdstk.Reference(pfet_1, (-96.535,39.95)))
top.add(gdstk.Reference(via_dev_1, (-89.61,46.19), rotation=pi/2))
top.add(gdstk.Reference(pfet_1, (-96.535,43.89)))
top.add(gdstk.Reference(pfet_1, (-91.8,43.89)))
top.add(gdstk.Reference(pfet_1, (-87.065,39.95)))
top.add(gdstk.Reference(pfet_1, (-87.065,43.89)))
top.add(gdstk.Reference(pfet_1, (-82.33,39.95)))
top.add(gdstk.Reference(via_dev_1, (-87.525,43.89)))
top.add(gdstk.Reference(via_dev_1, (-84.685,43.89)))
top.add(gdstk.Reference(via_dev_1, (-82.79,43.89)))
top.add(gdstk.Reference(via_dev_1, (-79.95,43.89)))
top.add(gdstk.Reference(pfet_1, (-82.33,43.89)))
top.add(gdstk.Reference(pfet_1, (-87.065,39.95)))
top.add(gdstk.Reference(pfet_1, (-82.33,43.89)))
top.add(gdstk.Reference(pfet_1, (-82.33,39.95)))
top.add(gdstk.Reference(via_dev_1, (-84.875,43.13), rotation=pi/2))
top.add(gdstk.Reference(via_dev_1, (-84.875,43.13), rotation=pi/2))
top.add(gdstk.Reference(via_dev_1, (-80.14,43.13), rotation=pi/2))
top.add(gdstk.Reference(pfet_1, (-87.065,39.95)))
top.add(gdstk.Reference(via_dev_1, (-84.875,43.13), rotation=pi/2))
top.add(gdstk.Reference(via_dev_1, (-84.875,43.13), rotation=pi/2))
top.add(gdstk.Reference(via_dev_1, (-80.14,43.13), rotation=pi/2))
top.add(gdstk.Reference(pfet_1, (-82.33,39.95)))
top.add(gdstk.Reference(pfet_1, (-87.065,43.89)))
top.add(gdstk.Reference(pfet_1, (-82.33,43.89)))
top.add(gdstk.Reference(pfet_1, (-82.33,39.95)))
top.add(gdstk.Reference(via_dev_1, (-84.875,46.19), rotation=pi/2))
top.add(gdstk.Reference(pfet_1, (-82.33,39.95)))
top.add(gdstk.Reference(via_dev_1, (-84.875,46.19), rotation=pi/2))
top.add(gdstk.Reference(pfet_1, (-82.33,39.95)))
top.add(gdstk.Reference(via_dev_1, (-80.14,46.19), rotation=pi/2))
top.add(gdstk.Reference(pfet_1, (-82.33,39.95)))
top.add(gdstk.Reference(pfet_1, (-82.33,39.95)))
top.add(gdstk.Reference(pfet_1, (-87.065,39.95)))
top.add(gdstk.Reference(via_dev_1, (-78.055,43.89)))
top.add(gdstk.Reference(pfet_1, (-82.33,43.89)))
top.add(gdstk.Reference(via_dev_1, (-84.875,46.19), rotation=pi/2))
top.add(gdstk.Reference(via_dev_1, (-84.875,46.19), rotation=pi/2))
top.add(gdstk.Reference(via_dev_1, (-80.14,46.19), rotation=pi/2))
top.add(gdstk.Reference(pfet_1, (-68.125,43.89)))
top.add(gdstk.Reference(pfet_1, (-68.125,39.95)))
top.add(gdstk.Reference(pfet_1, (-68.125,39.95)))
top.add(gdstk.Reference(via_dev_1, (-65.935,43.13), rotation=pi/2))
top.add(gdstk.Reference(pfet_1, (-68.125,43.89)))
top.add(gdstk.Reference(via_dev_1, (-65.935,46.19), rotation=pi/2))
top.add(gdstk.Reference(via_dev_1, (-65.935,43.13), rotation=pi/2))
top.add(gdstk.Reference(via_dev_1, (-65.245,47.065), rotation=pi/2))
top.add(gdstk.Reference(via_dev_1, (-65.935,47.94), rotation=pi/2))
top.add(gdstk.Reference(pfet_1, (-68.125,53.51)))
top.add(gdstk.Reference(via_dev_1, (-65.935,51), rotation=pi/2))
top.add(gdstk.Reference(via_dev_1, (-65.935,52.75), rotation=pi/2))
top.add(gdstk.Reference(via_dev_1, (-65.935,47.94), rotation=pi/2))
top.add(gdstk.Reference(via_dev_1, (-65.935,51), rotation=pi/2))
top.add(gdstk.Reference(pfet_1, (-68.125,48.7)))
top.add(gdstk.Reference(pfet_1, (-68.125,48.7)))
top.add(gdstk.Reference(via_dev_1, (-65.935,55.81), rotation=pi/2))
top.add(gdstk.Reference(via_dev_1, (-65.935,52.75), rotation=pi/2))
top.add(gdstk.Reference(pfet_1, (-68.125,53.51)))
top.add(gdstk.Reference(via_dev_1, (-65.935,55.81), rotation=pi/2))
top.add(gdstk.Reference(via_dev_1, (-65.935,46.19), rotation=pi/2))
top.add(gdstk.Reference(via_dev_1, (-58.35,47.94), rotation=pi/2))
top.add(gdstk.Reference(via_dev_1, (-58.35,55.81), rotation=pi/2))
top.add(gdstk.Reference(pfet_1, (-63.39,48.7)))
top.add(gdstk.Reference(via_dev_1, (-58.35,51), rotation=pi/2))
top.add(gdstk.Reference(pfet_1, (-63.39,53.51)))
top.add(gdstk.Reference(via_dev_1, (-58.35,52.75), rotation=pi/2))
top.add(gdstk.Reference(via_dev_1, (-65.745,53.51)))
top.add(gdstk.Reference(pfet_1, (-63.39,53.51)))
top.add(gdstk.Reference(via_dev_1, (-57.75,53.51)))
top.add(gdstk.Reference(pfet_1, (-63.39,48.7)))
top.add(gdstk.Reference(via_dev_1, (-70.67,51), rotation=pi/2))
top.add(gdstk.Reference(via_dev_1, (-75.405,51), rotation=pi/2))
top.add(gdstk.Reference(via_dev_1, (-75.215,53.51)))
top.add(gdstk.Reference(via_dev_1, (-73.32,53.51)))
top.add(gdstk.Reference(via_dev_1, (-70.67,51), rotation=pi/2))
top.add(gdstk.Reference(pfet_1, (-72.86,48.7)))
top.add(gdstk.Reference(via_dev_1, (-70.67,52.75), rotation=pi/2))
top.add(gdstk.Reference(pfet_1, (-72.86,48.7)))
top.add(gdstk.Reference(pfet_1, (-72.86,48.7)))
top.add(gdstk.Reference(pfet_1, (-72.86,48.7)))
top.add(gdstk.Reference(via_dev_1, (-68.585,48.7)))
top.add(gdstk.Reference(via_dev_1, (-70.48,48.7)))
top.add(gdstk.Reference(via_dev_1, (-73.32,48.7)))
top.add(gdstk.Reference(via_dev_1, (-75.215,48.7)))
top.add(gdstk.Reference(pfet_1, (-72.86,53.51)))
top.add(gdstk.Reference(via_dev_1, (-70.48,53.51)))
top.add(gdstk.Reference(via_dev_1, (-68.585,53.51)))
top.add(gdstk.Reference(pfet_1, (-72.86,53.51)))
top.add(gdstk.Reference(via_dev_1, (-75.405,55.81), rotation=pi/2))
top.add(gdstk.Reference(via_dev_1, (-70.67,55.81), rotation=pi/2))
top.add(gdstk.Reference(pfet_1, (-72.86,53.51)))
top.add(gdstk.Reference(via_dev_1, (-70.67,47.94), rotation=pi/2))
top.add(gdstk.Reference(via_dev_1, (-75.405,52.75), rotation=pi/2))
top.add(gdstk.Reference(pfet_1, (-72.86,53.51)))
top.add(gdstk.Reference(via_dev_1, (-75.405,55.81), rotation=pi/2))
top.add(gdstk.Reference(via_dev_1, (-75.405,52.75), rotation=pi/2))
top.add(gdstk.Reference(pfet_1, (-72.86,48.7)))
top.add(gdstk.Reference(pfet_1, (-72.86,48.7)))
top.add(gdstk.Reference(pfet_1, (-72.86,48.7)))
top.add(gdstk.Reference(via_dev_1, (-70.67,52.75), rotation=pi/2))
top.add(gdstk.Reference(pfet_1, (-72.86,48.7)))
top.add(gdstk.Reference(via_dev_1, (-68.585,48.7)))
top.add(gdstk.Reference(via_dev_1, (-70.67,55.81), rotation=pi/2))
top.add(gdstk.Reference(via_dev_1, (-70.48,48.7)))
top.add(gdstk.Reference(via_dev_1, (-73.32,48.7)))
top.add(gdstk.Reference(via_dev_1, (-75.215,48.7)))
top.add(gdstk.Reference(via_dev_1, (-75.405,47.94), rotation=pi/2))
top.add(gdstk.Reference(via_dev_1, (-70.67,47.94), rotation=pi/2))
top.add(gdstk.Reference(via_dev_1, (-75.405,47.94), rotation=pi/2))
top.add(gdstk.Reference(via_dev_1, (-75.405,51), rotation=pi/2))
top.add(gdstk.Reference(pfet_1, (-72.86,39.95)))
top.add(gdstk.Reference(pfet_1, (-72.86,39.95)))
top.add(gdstk.Reference(via_dev_1, (-75.405,43.13), rotation=pi/2))
top.add(gdstk.Reference(pfet_1, (-72.86,39.95)))
top.add(gdstk.Reference(pfet_1, (-72.86,39.95)))
top.add(gdstk.Reference(via_dev_1, (-70.67,43.13), rotation=pi/2))
top.add(gdstk.Reference(via_dev_1, (-75.405,43.13), rotation=pi/2))
top.add(gdstk.Reference(via_dev_1, (-70.67,43.13), rotation=pi/2))
top.add(gdstk.Reference(via_dev_1, (-75.405,46.19), rotation=pi/2))
top.add(gdstk.Reference(via_dev_1, (-70.67,46.19), rotation=pi/2))
top.add(gdstk.Reference(pfet_1, (-72.86,39.95)))
top.add(gdstk.Reference(via_dev_1, (-75.215,43.89)))
top.add(gdstk.Reference(via_dev_1, (-73.32,43.89)))
top.add(gdstk.Reference(pfet_1, (-72.86,43.89)))
top.add(gdstk.Reference(via_dev_1, (-70.48,43.89)))
top.add(gdstk.Reference(via_dev_1, (-68.585,43.89)))
top.add(gdstk.Reference(pfet_1, (-72.86,39.95)))
top.add(gdstk.Reference(pfet_1, (-72.86,43.89)))
top.add(gdstk.Reference(via_dev_1, (-75.405,46.19), rotation=pi/2))
top.add(gdstk.Reference(pfet_1, (-72.86,39.95)))
top.add(gdstk.Reference(via_dev_1, (-70.67,46.19), rotation=pi/2))
top.add(gdstk.Reference(pfet_1, (-72.86,43.89)))
top.add(gdstk.Reference(pfet_1, (-72.86,39.95)))
top.add(gdstk.Reference(pfet_1, (-72.86,43.89)))
top.add(gdstk.Reference(via_dev_1, (-58.35,46.19), rotation=pi/2))
top.add(gdstk.Reference(pfet_1, (-63.39,39.95)))
top.add(gdstk.Reference(pfet_1, (-63.39,43.89)))
top.add(gdstk.Reference(via_dev_1, (-58.35,43.13), rotation=pi/2))
top.add(gdstk.Reference(pfet_1, (-63.39,43.89)))
top.add(gdstk.Reference(via_dev_1, (-57.75,43.89)))
top.add(gdstk.Reference(pfet_1, (-63.39,39.95)))
top.add(gdstk.Reference(via_dev_1, (-65.745,43.89)))
top.add(gdstk.Label('VS', (-97.455,61.23), layer=34, texttype=10))
top.add(gdstk.Label('VG', (-59.455,59.145), layer=34, texttype=10))
top.add(gdstk.Label('VD', (-57.58,58.26), layer=34, texttype=10))
top.add(gdstk.Label('VB', (-88.79,75.12), layer=34, texttype=10))

lib.write_gds('TOP.gds')
